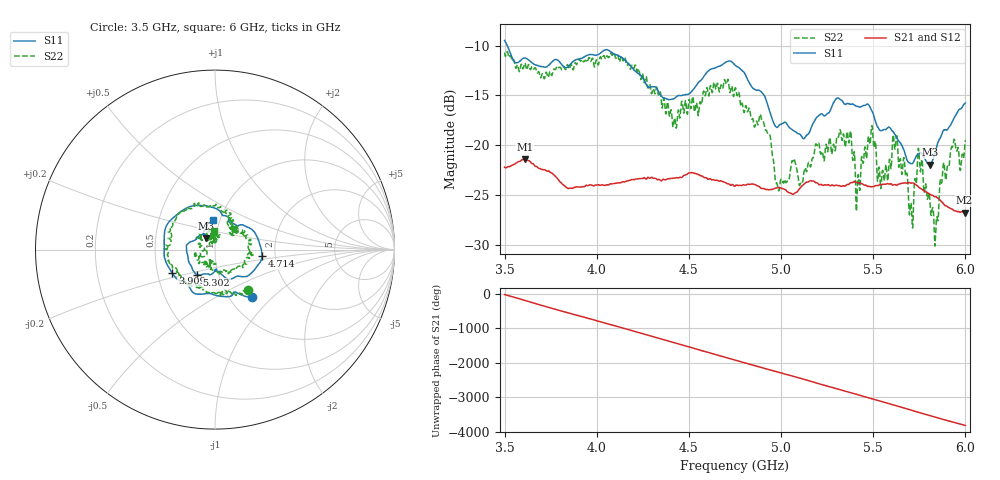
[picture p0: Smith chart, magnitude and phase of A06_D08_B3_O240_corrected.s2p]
! Created with skrf 1.9.0 (http://scikit-rf.org).
# Hz S RI R 50.0
!freq ReS11 ImS11 ReS21 ImS21 ReS12 ImS12 ReS22 ImS22
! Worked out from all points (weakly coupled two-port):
!   1601 points, 3.5 GHz to 6 GHz, reference 50 ohm
!   highest |S21| = -21.40 dB at 3.609 GHz (marker M1); lowest = -26.7 dB at 5.995 GHz (marker M2)
!   lowest |S11| = -21.9 dB at 5.806 GHz (marker M3), VSWR 1.17, Z = 45 + j5.71 ohm
!   |S11| at or under -10 dB: 3.515 GHz to end of sweep
!   |S22| runs from -30.1 to -10.6 dB; largest |S21 - S12| = 0.0011
!   S11 on the Smith chart (normalised r, x): 3.5 GHz: 1.26, -0.76; 3.909 GHz: 0.60, -0.17; 4.714 GHz: 1.70, -0.13; 5.302 GHz: 0.79, -0.23; 6 GHz: 0.93, +0.31
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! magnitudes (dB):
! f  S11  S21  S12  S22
! 3.5 GHz  -9.5  -22.2  -22.2  -10.7
! 3.609 GHz  -11.2  -21.4  -21.4  -11.7
! 3.909 GHz  -11.3  -24.2  -24.2  -11.5
! 3.917 GHz  -11.3  -24.2  -24.2  -11.4
! 4.334 GHz  -14.6  -23.4  -23.4  -14.9
! 4.423 GHz  -15.3  -23.3  -23.3  -17.3
! 4.714 GHz  -11.6  -23.9  -23.9  -13.5
! 4.75 GHz  -11.9  -24.1  -24.0  -14.3
! 4.981 GHz  -18.2  -24.3  -24.3  -24.0
! 5.167 GHz  -18.1  -23.6  -23.5  -21.5
! 5.302 GHz  -15.3  -24.0  -24.0  -19.3
! 5.417 GHz  -16.1  -23.7  -23.8  -23.0
! 5.486 GHz  -16.3  -24.1  -24.1  -19.3
! 5.584 GHz  -18.2  -23.9  -23.9  -22.1
! 5.619 GHz  -18.9  -23.9  -24.0  -20.4
! 5.706 GHz  -21.8  -23.8  -23.8  -26.0
! 5.753 GHz  -20.8  -24.3  -24.3  -22.1
! 5.806 GHz  -21.9  -24.9  -24.9  -25.2
! 5.842 GHz  -20.3  -25.2  -25.1  -27.5
! 5.93 GHz  -17.6  -26.4  -26.4  -20.2
! 5.995 GHz  -15.8  -26.7  -26.7  -20.4
! 6 GHz  -15.8  -26.7  -26.7  -19.5
